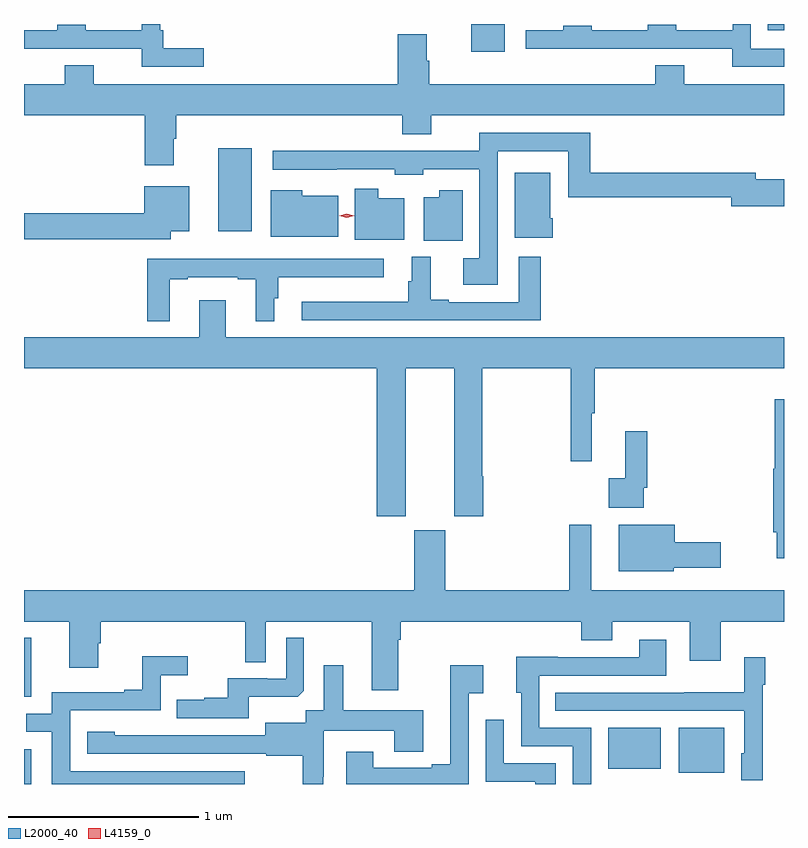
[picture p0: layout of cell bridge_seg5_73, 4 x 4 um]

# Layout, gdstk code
import gdstk
lib = gdstk.Library(unit=1e-6, precision=1e-09)
def R(c, l, rs):  # rectangles x0, y0, x1, y1
    for r in rs: c.add(gdstk.rectangle(r[:2], r[2:], *l))
def P(c, l, *ps):  # polygons
    for p in ps: c.add(gdstk.Polygon(p, *l))
L2000_40 = (2000, 40)
L4159_0 = (4159, 0)

bridge_seg5_73 = lib.new_cell('bridge_seg5_73')
R(bridge_seg5_73, L2000_40, [(327.234,887.873,327.271,888.057), (330.68,887.933,330.919,888.169), (330.308,887.954,330.586,888.169), (327.234,888.333,327.271,888.643), (328.256,890.783,328.432,891.22), (329.588,891.728,329.764,891.873), (331.148,891.839,331.234,891.873)])
P(bridge_seg5_73, L2000_40, [(331.234,891.744),(331.059,891.744),(331.059,891.873),(330.963,891.873),(330.963,891.84),(330.666,891.84),(330.666,891.868),(330.516,891.868),(330.516,891.84),(330.222,891.84),(330.222,891.865),(330.072,891.865),(330.072,891.84),(329.874,891.84),(329.874,891.743),(330.961,891.743),(330.961,891.648),(331.234,891.648)],
  [(328.18,891.745),(327.968,891.745),(327.968,891.841),(327.951,891.841),(327.951,891.873),(327.855,891.873),(327.855,891.84),(327.558,891.84),(327.558,891.868),(327.408,891.868),(327.408,891.84),(327.234,891.84),(327.234,891.743),(327.853,891.743),(327.853,891.648),(328.18,891.648)],
  [(328.021,891.269),(328.034,891.269),(328.034,891.392),(329.225,891.392),(329.225,891.293),(329.377,891.293),(329.377,891.392),(331.234,891.392),(331.234,891.556),(330.709,891.556),(330.709,891.655),(330.557,891.655),(330.557,891.556),(329.366,891.556),(329.366,891.68),(329.353,891.68),(329.353,891.82),(329.201,891.82),(329.201,891.556),(327.601,891.556),(327.601,891.655),(327.449,891.655),(327.449,891.556),(327.234,891.556),(327.234,891.392),(327.869,891.392),(327.869,891.129),(328.021,891.129)],
  [(329.727,891.204),(330.099,891.204),(330.099,890.962),(330.956,890.962),(330.956,890.915),(331.234,890.915),(331.234,891.057),(331.084,891.057),(331.084,891.091),(330.215,891.091),(330.215,891.3),(329.629,891.3),(329.629,891.206),(328.542,891.206),(328.542,891.107),(328.88,891.107),(328.88,891.108),(329.184,891.108),(329.184,891.08),(329.334,891.08),(329.334,891.108),(329.631,891.108),(329.631,890.641),(329.547,890.641),(329.547,890.501),(329.727,890.501)],
  [(330.017,890.851),(330.004,890.851),(330.004,891.091),(329.816,891.091),(329.816,890.747),(330.017,890.747)],
  [(328.006,890.783),(328.105,890.783),(328.105,891.019),(327.866,891.019),(327.866,890.876),(327.234,890.876),(327.234,890.74),(328.006,890.74)],
  [(329.236,890.956),(329.098,890.956),(329.098,891.007),(328.976,891.007),(328.976,890.738),(329.236,890.738)],
  [(328.888,890.968),(328.698,890.968),(328.698,890.998),(328.532,890.998),(328.532,890.753),(328.888,890.753)],
  [(329.542,890.998),(329.42,890.998),(329.42,890.962),(329.339,890.962),(329.339,890.732),(329.542,890.732)],
  [(329.954,890.647),(329.838,890.647),(329.838,890.409),(329.47,890.409),(329.47,890.422),(329.374,890.422),(329.374,890.647),(329.276,890.647),(329.276,890.52),(329.257,890.52),(329.257,890.41),(328.695,890.41),(328.695,890.313),(329.954,890.313)],
  [(328,890.529),(328.096,890.529),(328.096,890.541),(328.358,890.541),(328.358,890.529),(328.454,890.529),(328.454,890.309),(328.552,890.309),(328.552,890.43),(328.571,890.43),(328.571,890.54),(329.128,890.54),(329.128,890.637),(328.428,890.637),(328.428,890.638),(328.16,890.638),(328.16,890.637),(327.883,890.637),(327.883,890.309),(328,890.309)],
  [(329.242,890.06),(329.498,890.06),(329.498,889.281),(329.651,889.281),(329.651,889.493),(329.646,889.493),(329.646,890.06),(330.111,890.06),(330.111,889.572),(330.221,889.572),(330.221,889.824),(330.239,889.824),(330.239,890.06),(331.234,890.06),(331.234,890.224),(328.297,890.224),(328.297,890.419),(328.157,890.419),(328.157,890.224),(327.234,890.224),(327.234,890.06),(329.09,890.06),(329.09,889.281),(329.242,889.281)],
  [(331.234,889.897),(331.184,889.897),(331.184,889.533),(331.178,889.533),(331.178,889.197),(331.196,889.197),(331.196,889.062),(331.234,889.062)],
  [(330.495,889.432),(330.515,889.432),(330.515,889.729),(330.398,889.729),(330.398,889.481),(330.312,889.481),(330.312,889.328),(330.495,889.328)],
  [(329.203,888.632),(329.216,888.632),(329.216,888.728),(330.167,888.728),(330.167,888.629),(330.331,888.629),(330.331,888.728),(330.737,888.728),(330.737,888.522),(330.901,888.522),(330.901,888.728),(331.234,888.728),(331.234,888.892),(330.22,888.892),(330.22,889.237),(330.103,889.237),(330.103,888.892),(329.452,888.892),(329.452,889.209),(329.288,889.209),(329.288,888.892),(327.234,888.892),(327.234,888.728),(327.473,888.728),(327.473,888.486),(327.625,888.486),(327.625,888.615),(327.638,888.615),(327.638,888.728),(328.398,888.728),(328.398,888.514),(328.506,888.514),(328.506,888.728),(329.063,888.728),(329.063,888.366),(329.203,888.366)],
  [(330.654,889.01),(330.901,889.01),(330.901,889.145),(330.658,889.145),(330.658,889.237),(330.365,889.237),(330.365,888.992),(330.654,888.992)],
  [(328.417,888.332),(328.675,888.332),(328.707,888.363),(328.707,888.643),(328.614,888.643),(328.614,888.426),(328.514,888.426),(328.514,888.429),(328.307,888.429),(328.307,888.328),(328.183,888.328),(328.183,888.316),(328.039,888.316),(328.039,888.219),(328.417,888.219)],
  [(330.219,888.168),(329.946,888.168),(329.946,888.444),(330.613,888.444),(330.613,888.631),(330.473,888.631),(330.473,888.54),(330.043,888.54),(330.043,888.542),(329.825,888.542),(329.825,888.354),(329.85,888.354),(329.85,888.072),(330.123,888.072),(330.123,887.873),(330.219,887.873)],
  [(328.396,887.94),(327.477,887.94),(327.477,888.261),(327.954,888.261),(327.954,888.446),(328.096,888.446),(328.096,888.545),(327.856,888.545),(327.856,888.37),(327.761,888.37),(327.761,888.357),(327.381,888.357),(327.381,888.243),(327.247,888.243),(327.247,888.147),(327.381,888.147),(327.381,887.873),(328.396,887.873)],
  [(331.122,888.396),(331.135,888.396),(331.135,888.541),(331.026,888.541),(331.026,888.355),(330.709,888.355),(330.709,888.354),(330.031,888.354),(330.031,888.258),(331.026,888.258),(331.026,888.036),(331.01,888.036),(331.01,887.893),(331.122,887.893)],
  [(328.81,887.911),(328.812,887.911),(328.812,888.152),(329.183,888.152),(329.183,888.043),(329.335,888.043),(329.335,888.262),(328.915,888.262),(328.915,888.499),(328.811,888.499),(328.811,888.26),(328.716,888.26),(328.716,888.196),(328.505,888.196),(328.505,888.129),(327.947,888.129),(327.947,888.13),(327.711,888.13),(327.711,888.148),(327.567,888.148),(327.567,888.033),(328.509,888.033),(328.509,888.021),(328.701,888.021),(328.701,887.873),(328.81,887.873)],
  [(329.574,888.35),(329.65,888.35),(329.65,888.499),(329.477,888.499),(329.477,887.977),(329.381,887.977),(329.381,887.958),(329.071,887.958),(329.071,888.043),(328.931,888.043),(328.931,887.873),(329.574,887.873)],
  [(330.033,887.982),(329.76,887.982),(329.76,888.211),(329.664,888.211),(329.664,887.885),(329.926,887.885),(329.926,887.873),(330.033,887.873)])
P(bridge_seg5_73, L4159_0, [(328.932,890.854),(328.892,890.864),(328.892,890.864),(328.892,890.864),(328.932,890.874),(328.972,890.864),(328.972,890.864),(328.972,890.864)])

lib.write_gds('bridge_seg5_73.gds')
